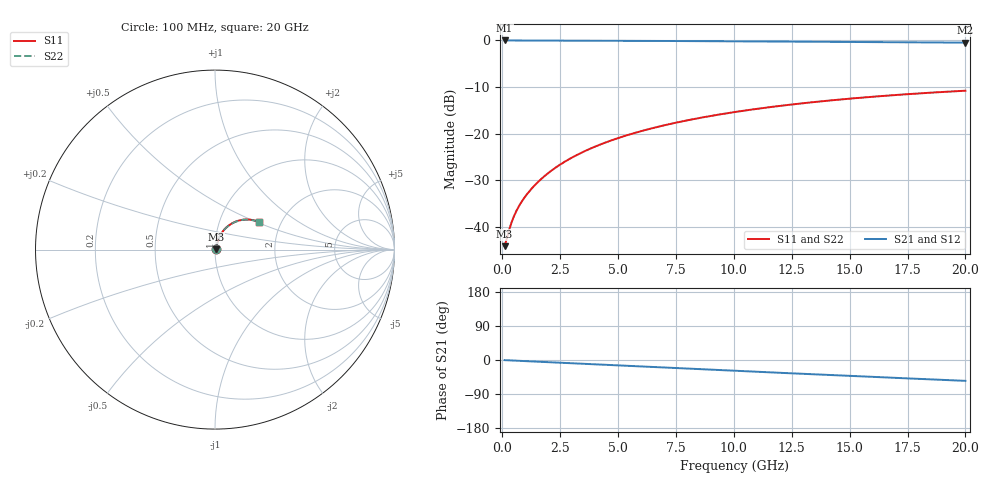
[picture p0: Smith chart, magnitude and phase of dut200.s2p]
! Touchstone file exported from HFSS 2026.1.0
!  File:  C:/ffzhzh/LocalFiles/Ansys_Project_Files/temp_train_TMRDL_200_1782983962_6248.aedt
!  Generated:  05:20:34 PM Jul  2, 2026
!  Design:  TMRDL
!  Project:  temp_train_TMRDL_200_1782983962_6248
! Variables:
!  h_bsmrdl = 2um
!  h_ox = 20um
!  h_rdl = 5um
!  h_sub = 80um
!  h_tmrdl = 2.02um
!  h_tsv = 80um
!  h_via = 3um
!  l_bsmrdl = 300um
!  l_sub = 1312.95um
!  l_tmrdl = 912.95um
!  m_sub = 200um
!  pitch = 42.4um
!  r_tsv = 6um
!  s_tmrdl = 10um
!  w_bsmrdl = 18um
!  w_sub = 500um
!  w_tmrdl = 29.78um
!  x_tsv_center1 = 927.84um
!  x_tsv_center2 = 1245.84um
!  x_tsv_center3 = 2188.57um
!  x_tsv_center4 = 2506.57um
!  x_tsv_center5 = 3449.3um
!  x_tsv_center6 = 3767.3um
# GHz S MA R 50.000000
! Terminal data exported
! Port[1] = TM_RDL1_1_T1
! Port[2] = TM_RDL1_1_T2
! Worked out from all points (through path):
!   200 points, 100 MHz to 20 GHz, reference 50 ohm
!   highest |S21| = -0.05 dB at 100 MHz (marker M1); lowest = -0.5 dB at 20 GHz (marker M2)
!   group delay of S21, straight-line fit = 7.64 ps
!   lowest |S11| = -44.1 dB at 100 MHz (marker M3), VSWR 1.01, Z = 50.6 + j0.24 ohm
!   |S11| at or under -10 dB: start of sweep to end of sweep
!   |S22| runs from -44.1 to -10.8 dB; largest |S21 - S12| = 4e-15
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0.1  0.00624 22.3  0.9942 -0.3  0.9942 -0.3  0.00624 22.3
! Gamma 0 0 0 0
! Port Impedance 50 0 50 0
0.3  0.009401 46.2  0.9936 -0.9  0.9936 -0.9  0.009401 46.2
0.4  0.01121 51.5  0.9932 -1.2  0.9932 -1.2  0.01121 51.5
0.5  0.013 55.0  0.9928 -1.5  0.9928 -1.5  0.013 55.0
0.6  0.01473 57.6  0.9924 -1.8  0.9924 -1.8  0.01473 57.6
0.7  0.01642 59.6  0.9921 -2.1  0.9921 -2.1  0.01642 59.6
0.9  0.01973 62.7  0.9916 -2.7  0.9916 -2.7  0.01974 62.7
1.2  0.02467 66.0  0.9911 -3.5  0.9911 -3.5  0.02467 66.0
1.7  0.03301 69.2  0.9905 -4.9  0.9905 -4.9  0.03301 69.2
2.2  0.0415 70.8  0.99 -6.4  0.99 -6.4  0.04151 70.8
2.8  0.05182 71.5  0.9893 -8.1  0.9893 -8.1  0.05183 71.4
3.5  0.06389 71.3  0.9884 -10.1  0.9884 -10.1  0.06391 71.3
4.2  0.07594 70.6  0.9873 -12.1  0.9873 -12.1  0.07596 70.5
5  0.0896 69.3  0.986 -14.3  0.986 -14.3  0.08962 69.2
5.9  0.1048 67.5  0.9842 -16.9  0.9842 -16.9  0.1048 67.5
6.8  0.1196 65.6  0.9822 -19.4  0.9822 -19.4  0.1197 65.5
8.3  0.1437 62.0  0.9784 -23.6  0.9784 -23.6  0.1437 61.9
10.1  0.1712 57.6  0.9734 -28.6  0.9734 -28.6  0.1712 57.4
11.7  0.1941 53.5  0.9685 -33.0  0.9685 -33.0  0.1942 53.3
13.4  0.2169 49.1  0.963 -37.6  0.963 -37.6  0.217 49.0
16.7  0.2561 40.7  0.9523 -46.4  0.9523 -46.4  0.2562 40.5
20  0.288 32.4  0.9422 -55.0  0.9422 -55.0  0.2882 32.1
